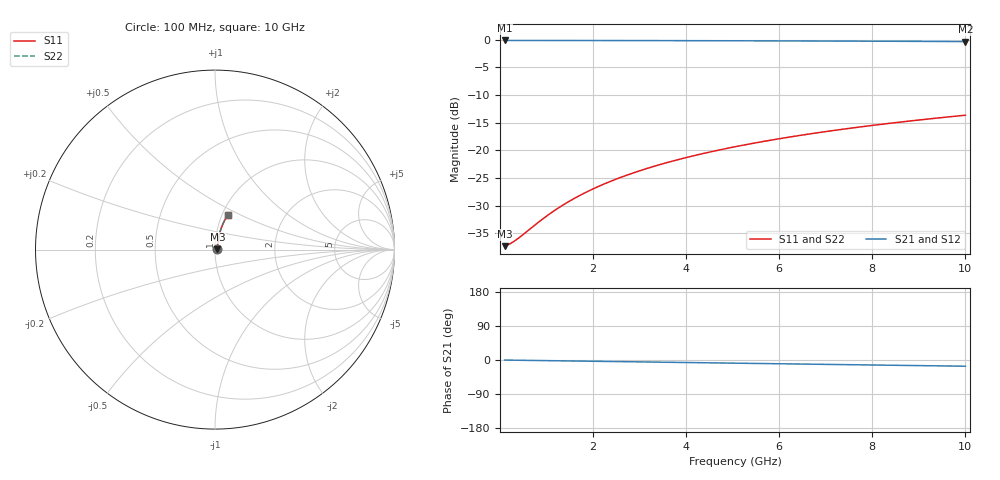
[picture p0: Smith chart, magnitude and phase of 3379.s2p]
# Hz S RI R 50.00
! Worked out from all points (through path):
!   100 points, 100 MHz to 10 GHz, reference 50 ohm
!   highest |S21| = -0.12 dB at 100 MHz (marker M1); lowest = -0.3 dB at 10 GHz (marker M2)
!   group delay of S21, straight-line fit = 4.56 ps
!   lowest |S11| = -37.3 dB at 100 MHz (marker M3), VSWR 1.03, Z = 51.4 + j0.215 ohm
!   |S11| at or under -10 dB: start of sweep to end of sweep
!   |S22| runs from -37.3 to -13.6 dB; largest |S21 - S12| = 0
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1e8  0.0135 0.00209  0.9865 -0.00286  0.9865 -0.00286  0.0135 0.00209
2e8  0.0136 0.00419  0.9864 -0.00572  0.9864 -0.00572  0.0136 0.00419
3e8  0.0137 0.00628  0.9863 -0.00858  0.9863 -0.00858  0.0137 0.00628
4e8  0.0137 0.00837  0.9862 -0.0114  0.9862 -0.0114  0.0137 0.00837
9e8  0.0143 0.0188  0.9857 -0.0257  0.9857 -0.0257  0.0143 0.0188
1.2e9  0.0148 0.0251  0.9852 -0.0343  0.9852 -0.0343  0.0148 0.0251
1.5e9  0.0153 0.0313  0.9846 -0.0428  0.9846 -0.0428  0.0153 0.0313
1.8e9  0.016 0.0376  0.9839 -0.0514  0.9839 -0.0514  0.016 0.0376
2.1e9  0.0167 0.0438  0.9831 -0.0599  0.9831 -0.0599  0.0167 0.0438
2.5e9  0.0179 0.052  0.9819 -0.0712  0.9819 -0.0712  0.0179 0.052
2.9e9  0.0193 0.0603  0.9805 -0.0825  0.9805 -0.0825  0.0193 0.0603
3.4e9  0.0212 0.0705  0.9784 -0.0966  0.9784 -0.0966  0.0212 0.0705
3.8e9  0.023 0.0786  0.9765 -0.1078  0.9765 -0.1078  0.023 0.0786
4.2e9  0.025 0.0867  0.9745 -0.1189  0.9745 -0.1189  0.025 0.0867
4.6e9  0.0271 0.0947  0.9723 -0.13  0.9723 -0.13  0.0271 0.0947
5.1e9  0.03 0.1047  0.9692 -0.1438  0.9692 -0.1438  0.03 0.1047
5.9e9  0.0352 0.1203  0.9637 -0.1656  0.9637 -0.1656  0.0352 0.1203
6.7e9  0.0412 0.1357  0.9574 -0.1872  0.9574 -0.1872  0.0412 0.1357
7.5e9  0.0478 0.1507  0.9505 -0.2083  0.9505 -0.2083  0.0478 0.1507
8.4e9  0.056 0.1671  0.9419 -0.2317  0.9419 -0.2317  0.056 0.1671
9.2e9  0.0639 0.1813  0.9335 -0.2521  0.9335 -0.2521  0.0639 0.1813
1e10  0.0724 0.195  0.9246 -0.272  0.9246 -0.272  0.0724 0.195
